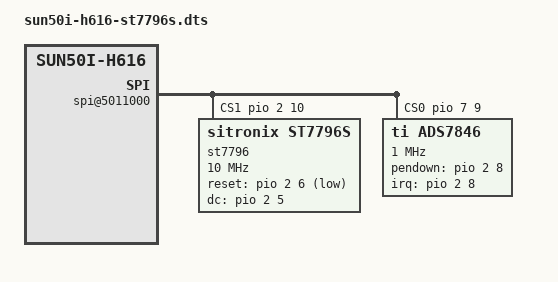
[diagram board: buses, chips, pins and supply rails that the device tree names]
/dts-v1/;
/plugin/;

/ {
    compatible = "allwinner,sun50i-h616";

    fragment@0 {
	target-path = "/soc/spi@5011000";
	__overlay__ {
	    num-cs = <2>;
	    
		/* PH9 PC10 */
		cs-gpios = <&pio 7 9 0>,
			<&pio 2 10 0>;
	    status = "okay";
	    #address-cells = <1>;
	    #size-cells = <0>;

	    st7796: st7796s@0{
		compatible = "sitronix,st7796s";
		reg = <1>;
		spi-max-frequency = <10000000>;
		fps = <30>;
		buswidth = <8>;
		reset-gpios = <&pio 2 6 1>;  /* PC6 */
		dc-gpios = <&pio 2 5 0>;     /* PC5 */
		rotate = <270>;
		debug = <1>;
	    };
	};
    };

    fragment@1 {
	target-path = "/soc/spi@5011000";
    __overlay__ {
	#address-cells = <1>;
        #size-cells = <0>;
	status = "okay";
	ads7846@0 {
	    compatible = "ti,ads7846";
	    reg = <0>;
	    status = "okay";
	    spi-max-frequency = <1000000>;
	    interrupts = <2 8 2>; /* high-to-low edge triggered */
		interrupt-parent = <&pio>;   /* PC8 */
	    pendown-gpio = <&pio 2 8 0>;	    

	    /* driver defaults, optional */

           ti,keep-vref-on = <1>;
           ti,x-min = /bits/ 16 <00>;
           ti,x-max = /bits/ 16 <0xFFF>;
           ti,y-min = /bits/ 16 <00>;
           ti,y-max = /bits/ 16 <0xFFF>;
           ti,x-plate-ohms = /bits/ 16 <60>;
           ti,pressure-max = /bits/ 16 <255>;
            ti,swap-xy = <0>;	};
    };
    };


};
